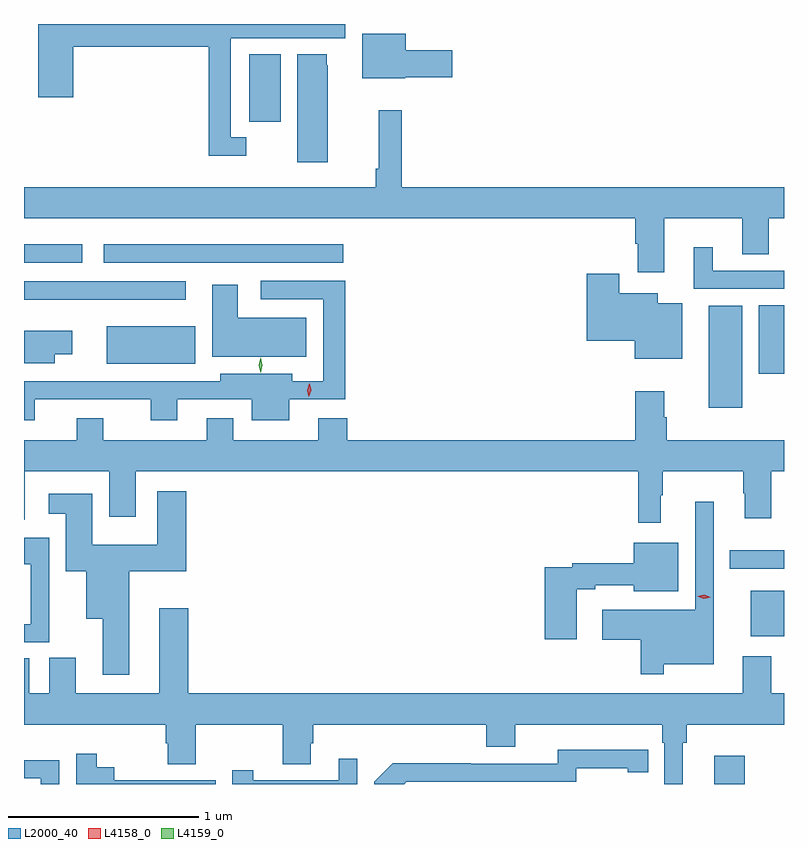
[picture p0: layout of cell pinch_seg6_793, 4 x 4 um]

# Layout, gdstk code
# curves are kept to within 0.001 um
import gdstk
lib = gdstk.Library(unit=1e-6, precision=1e-09)
def R(c, l, rs):  # rectangles x0, y0, x1, y1
    for r in rs: c.add(gdstk.rectangle(r[:2], r[2:], *l))
def P(c, l, *ps):  # polygons
    for p in ps: c.add(gdstk.Polygon(p, *l))
L2000_40 = (2000, 40)
L4158_0 = (4158, 0)
L4159_0 = (4159, 0)

pinch_seg6_793 = lib.new_cell('pinch_seg6_793')
R(pinch_seg6_793, L2000_40, [(233.27,972.331,233.429,972.481), (233.462,973.109,233.636,973.348), (233.35,973.464,233.636,973.561), (233.24,974.312,233.416,974.848), (233.504,974.49,233.636,974.852), (230.072,974.543,230.536,974.74), (229.636,974.879,230.488,974.976), (229.636,975.075,229.942,975.172), (230.055,975.075,231.316,975.172), (230.822,975.816,230.986,976.172)])
P(pinch_seg6_793, L2000_40, [(230.806,975.735),(230.724,975.735),(230.724,976.257),(231.328,976.257),(231.328,976.331),(229.712,976.331),(229.712,975.945),(229.895,975.945),(229.895,976.21),(230.608,976.21),(230.608,975.638),(230.806,975.638)],
  [(231.642,976.052),(231.889,976.052),(231.889,976.194),(231.646,976.194),(231.646,976.279),(231.416,976.279),(231.416,976.046),(231.642,976.046)],
  [(231.235,976.113),(231.229,976.113),(231.229,976.172),(231.074,976.172),(231.074,975.603),(231.235,975.603)],
  [(233.005,975.308),(233.417,975.308),(233.417,975.118),(233.557,975.118),(233.557,975.308),(233.636,975.308),(233.636,975.472),(231.623,975.472),(231.623,975.877),(231.502,975.877),(231.502,975.568),(231.487,975.568),(231.487,975.472),(229.636,975.472),(229.636,975.308),(232.853,975.308),(232.853,975.174),(232.865,975.174),(232.865,975.024),(233.005,975.024)],
  [(233.636,975.033),(233.26,975.033),(233.26,975.157),(233.162,975.157),(233.162,974.937),(233.636,974.937)],
  [(233.101,974.86),(232.972,974.86),(232.972,974.914),(232.768,974.914),(232.768,975.016),(232.598,975.016),(232.598,974.663),(232.85,974.663),(232.85,974.57),(233.101,974.57)],
  [(229.693,974.355),(230.303,974.355),(230.303,974.246),(230.443,974.246),(230.443,974.355),(230.834,974.355),(230.834,974.246),(231.031,974.246),(231.031,974.355),(231.326,974.355),(231.326,974.979),(230.883,974.979),(230.883,974.883),(231.21,974.883),(231.21,974.451),(231.049,974.451),(231.049,974.491),(230.669,974.491),(230.669,974.451),(229.636,974.451),(229.636,974.246),(229.693,974.246)],
  [(231.121,974.785),(230.761,974.785),(230.761,974.959),(230.627,974.959),(230.627,974.579),(231.121,974.579)],
  [(229.798,974.594),(229.891,974.594),(229.891,974.716),(229.636,974.716),(229.636,974.546),(229.798,974.546)],
  [(232.988,973.85),(232.999,973.85),(232.999,973.976),(233.422,973.976),(233.422,973.862),(233.429,973.862),(233.429,973.731),(233.569,973.731),(233.569,973.976),(233.636,973.976),(233.636,974.14),(233.018,974.14),(233.018,974.261),(233.005,974.261),(233.005,974.398),(232.853,974.398),(232.853,974.14),(231.338,974.14),(231.338,974.257),(231.185,974.257),(231.185,974.14),(230.737,974.14),(230.737,974.257),(230.597,974.257),(230.597,974.14),(230.053,974.14),(230.053,974.257),(229.913,974.257),(229.913,974.14),(229.636,974.14),(229.636,973.722),(229.639,973.722),(229.639,973.976),(230.084,973.976),(230.084,973.737),(230.224,973.737),(230.224,973.976),(232.87,973.976),(232.87,973.707),(232.988,973.707)],
  [(230.191,973.451),(230.489,973.451),(230.489,973.873),(230.336,973.873),(230.336,973.591),(229.996,973.591),(229.996,973.858),(229.767,973.858),(229.767,973.754),(229.856,973.754),(229.856,973.451),(229.964,973.451),(229.964,973.202),(230.051,973.202),(230.051,972.906),(230.191,972.906)],
  [(233.002,972.962),(233.267,972.962),(233.267,973.339),(233.265,973.339),(233.265,973.816),(233.169,973.816),(233.169,973.249),(232.68,973.249),(232.68,973.091),(232.881,973.091),(232.881,972.909),(233.002,972.909)],
  [(229.769,973.627),(229.636,973.627),(229.636,973.487),(229.671,973.487),(229.671,973.173),(229.636,973.173),(229.636,973.077),(229.769,973.077)],
  [(232.546,973.357),(232.642,973.357),(232.642,973.377),(232.844,973.377),(232.844,973.346),(233.08,973.346),(233.08,973.6),(232.844,973.6),(232.844,973.493),(232.522,973.493),(232.522,973.473),(232.376,973.473),(232.376,973.092),(232.546,973.092)],
  [(233.104,972.548),(233.123,972.548),(233.123,972.644),(233.636,972.644),(233.636,972.808),(233.569,972.808),(233.569,973.003),(233.42,973.003),(233.42,972.808),(230.501,972.808),(230.501,973.255),(230.348,973.255),(230.348,972.808),(229.909,972.808),(229.909,972.996),(229.77,972.996),(229.77,972.808),(229.663,972.808),(229.663,972.992),(229.636,972.992),(229.636,972.644),(230.381,972.644),(230.381,972.546),(230.393,972.546),(230.393,972.436),(230.541,972.436),(230.541,972.644),(230.998,972.644),(230.998,972.436),(231.145,972.436),(231.145,972.546),(231.158,972.546),(231.158,972.644),(232.07,972.644),(232.07,972.527),(232.222,972.527),(232.222,972.644),(232.994,972.644),(232.994,972.548),(233.007,972.548),(233.007,972.331),(233.104,972.331)],
  [(231.648,972.342),(232.542,972.342),(232.542,972.414),(232.814,972.414),(232.814,972.394),(232.922,972.394),(232.922,972.51),(232.446,972.511),(232.446,972.438),(231.986,972.438),(231.986,972.44),(231.578,972.44),(231.48,972.342),(231.48,972.331),(231.637,972.331)],
  [(230.646,972.351),(230.112,972.351),(230.112,972.42),(230.02,972.42),(230.02,972.49),(229.911,972.49),(229.911,972.331),(230.646,972.331)],
  [(231.39,972.463),(231.293,972.463),(231.293,972.351),(230.842,972.351),(230.842,972.403),(230.731,972.403),(230.731,972.331),(231.39,972.331)],
  [(229.821,972.456),(229.636,972.456),(229.636,972.36),(229.725,972.36),(229.725,972.331),(229.821,972.331)])
P(pinch_seg6_793, L4158_0, [(233.214,973.307),(233.179,973.318),(233.179,973.318),(233.179,973.318),(233.215,973.327),(233.25,973.315),(233.25,973.315),(233.25,973.315)],
  [(231.135,974.368),(231.135,974.368),(231.127,974.404),(231.138,974.438),(231.138,974.438),(231.139,974.438),(231.147,974.403),(231.135,974.368)])
P(pinch_seg6_793, L4159_0, [(230.881,974.496),(230.871,974.535),(230.881,974.574),(230.881,974.574),(230.881,974.574),(230.891,974.535),(230.882,974.496),(230.882,974.496)])

lib.write_gds('pinch_seg6_793.gds')
